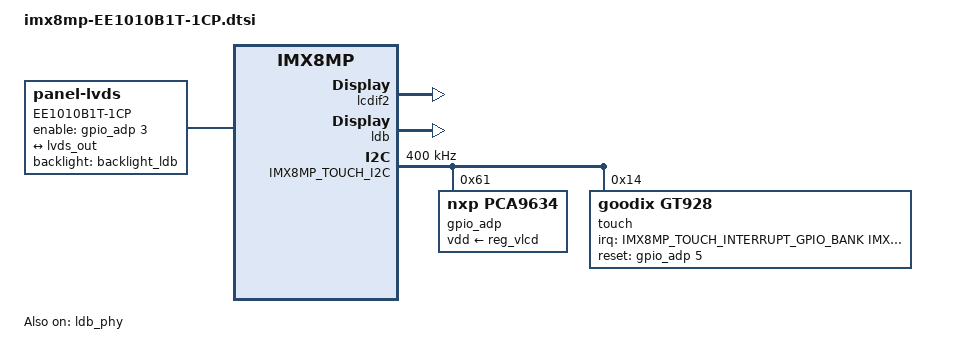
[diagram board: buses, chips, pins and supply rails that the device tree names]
/*
 * Copyright (C) 2024 F&S Elektronik Systeme GmbH
 *
 * This program is free software; you can redistribute it and/or modify
 * it under the terms of the GNU General Public License version 2 as
 * published by the Free Software Foundation.
 */

/ {
	lvds_panel {
		compatible = "panel-lvds";
		backlight = <&backlight_ldb>;
		/* MIPI_RST from board */
		//enable-gpios = <&IMX8MP_MIPI_RESET_GPIO_BANK IMX8MP_MIPI_RESET_GPIO_NUM GPIO_ACTIVE_HIGH>;
		/* Mounting option for MIPI_RST on pca9634 (ADP-LVDS2LVDS2) */
		enable-gpios = <&gpio_adp 3 GPIO_ACTIVE_HIGH>;
		data-mapping = "vesa-24";
		label = "EE1010B1T-1CP";
                width-mm = <223>;
                height-mm = <125>;
		status = "okay";

		panel-timing {
			clock-frequency = <49500000>;
			hactive = <1024>;
			vactive = <600>;
			hback-porch = <160>;
			hfront-porch = <76>;
			hsync-len = <140>;
			vback-porch = <23>;
			vfront-porch = <107>;
			vsync-len = <20>;
			pixelclk-active = <0>;
			de-active = <1>;
		};

		port {
			panel_lvds_in: endpoint {
				remote-endpoint = <&lvds_out>;
			};
		};
	};
};

&backlight_ldb {
	pwms = <&gpio_adp 1 5263157 1>;
	brightness-levels = <0 1 5 10 18 28 41 56
				 73 92 113 137 163 192 222 255>;
	default-brightness-level = <14>;
};

&reg_ldb_bl{
	gpio = <&gpio_adp 0 GPIO_ACTIVE_HIGH>;
};

/* LVDS */
&lcdif2 {
	status = "okay";
};

&ldb_phy {
	status = "okay";
};

&ldb {
	status = "okay";
	lvds-channel@IMX8MP_LVDS_CHANNEL {
		fsl,data-mapping = "spwg";
		fsl,data-width = <24>;
		status = "okay";

		port@1 {
			reg = <1>;
			lvds_out: endpoint {
				remote-endpoint = <&panel_lvds_in>;
			};
		};
	};
};

&IMX8MP_TOUCH_I2C {
	clock-frequency = <400000>;
	gpio_adp: pca9634@61 {
			compatible = "nxp,pca9634";
			reg = <0x61>;
			vdd-supply = <&reg_vlcd>;
			#address-cells = <1>;
			#size-cells = <0>;
			#pwm-cells = <3>;
			#gpio-cells = <2>;
			led@0 {
				reg = <0>;
				label = "BL_ON";
				type = "GPIO";
				default-on;	        /* or: keep-value */
				active-high;
			};
			led@1 {
				reg = <1>;
				label = "BL_PWM";
				type = "PWM";
				default-on;             /* or: keep-value */
				active-low;
			};
			led@2 {
				reg = <2>;
				label = "2-unused";
				type = "LED";
				active-low;
			};
			led@3 {
				reg = <3>;
				label = "MIPI_RST";
				type = "GPIO";
				active-high;
			};
			led@4 {
				reg = <4>;
				label = "4-unused";
				type = "LED";
				active-low;
			};
			led@5 {
				reg = <5>;
				label = "I2C_RST";
				type = "GPIO";
				active-high;
				default-on;     /* or: keep-value */
			};
			led@6 {
				reg = <6>;
				label = "6-unused";
				type = "LED";
				active-low;
			};
			led@7 {
				reg = <7>;
				label = "TOUCH_ON";
				type = "GPIO";
				active-high;
				default-on;
			};
		};
        /* GOODIX PCAP touch on Touch-Connector (I2C) */
        touch: gt928@14 {
                compatible = "goodix,gt928";
                reg = <0x14>;
                //vdd-supply = <&reg_vlcd>;
                touchscreen-inverted-x;
                touchscreen-inverted-y;
                interrupt-parent = <&IMX8MP_TOUCH_INTERRUPT_GPIO_BANK>;
                interrupts = <IMX8MP_TOUCH_INTERRUPT_GPIO_NUM IRQ_TYPE_EDGE_RISING>;
                irq-gpios = <&IMX8MP_TOUCH_INTERRUPT_GPIO_BANK IMX8MP_TOUCH_INTERRUPT_GPIO_NUM GPIO_ACTIVE_HIGH>;
                reset-gpios = <&gpio_adp 5 GPIO_ACTIVE_HIGH>;
        };
};
